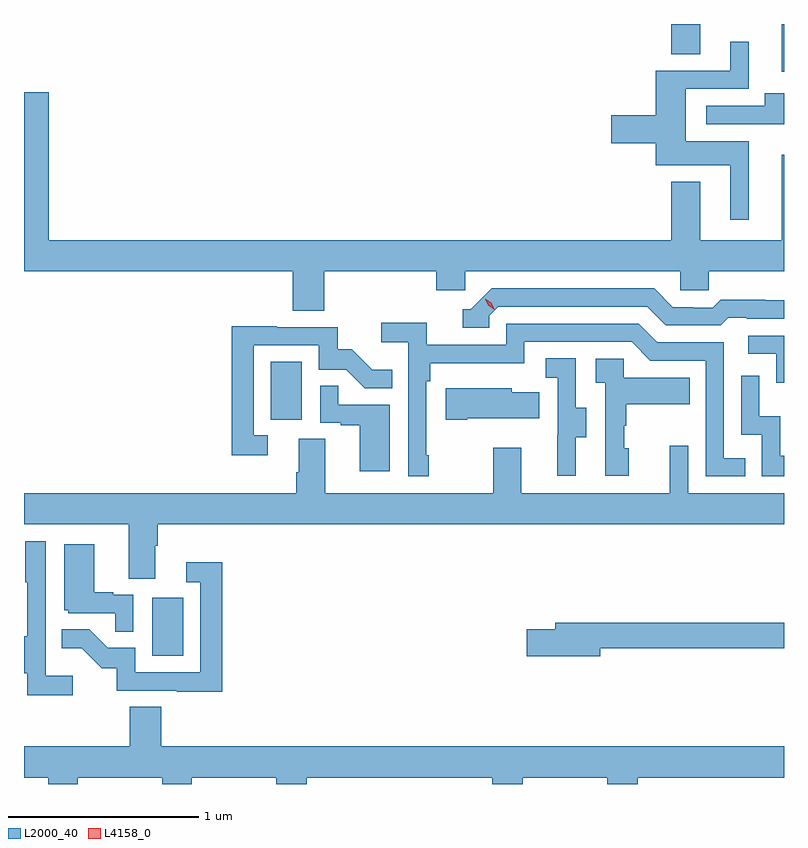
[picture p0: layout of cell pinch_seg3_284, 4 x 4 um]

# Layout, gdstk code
import gdstk
lib = gdstk.Library(unit=1e-6, precision=1e-09)
def R(c, l, rs):  # rectangles x0, y0, x1, y1
    for r in rs: c.add(gdstk.rectangle(r[:2], r[2:], *l))
def P(c, l, *ps):  # polygons
    for p in ps: c.add(gdstk.Polygon(p, *l))
L2000_40 = (2000, 40)
L4158_0 = (4158, 0)

pinch_seg3_284 = lib.new_cell('pinch_seg3_284')
R(pinch_seg3_284, L2000_40, [(926.378,712.212,926.542,712.519), (927.002,713.454,927.166,713.761), (929.693,715.287,929.704,715.538), (929.111,715.378,929.263,715.538)])
P(pinch_seg3_284, L2000_40, [(929.518,714.922),(929.188,714.922),(929.188,715.197),(929.518,715.197),(929.518,715.444),(929.42,715.444),(929.42,715.293),(929.03,715.293),(929.03,715.058),(928.794,715.058),(928.794,714.911),(929.03,714.911),(929.03,714.794),(929.42,714.794),(929.42,714.507),(929.518,714.507)],
  [(927.284,714.236),(927.875,714.236),(927.875,714.138),(928.026,714.138),(928.026,714.236),(929.157,714.236),(929.157,714.138),(929.307,714.138),(929.307,714.236),(929.704,714.236),(929.704,714.85),(929.693,714.85),(929.693,714.4),(929.263,714.4),(929.263,714.709),(929.111,714.709),(929.111,714.4),(925.835,714.4),(925.835,715.18),(925.704,715.18),(925.704,714.236),(927.119,714.236),(927.119,714.028),(927.284,714.028)],
  [(929.704,715.174),(929.603,715.174),(929.603,715.107),(929.295,715.107),(929.295,715.011),(929.704,715.011)],
  [(928.152,714.003),(928.2,714.051),(928.983,714.051),(929.082,713.952),(929.371,713.952),(929.41,713.991),(929.509,713.991),(929.509,713.988),(929.704,713.988),(929.704,714.085),(929.604,714.085),(929.604,714.088),(929.371,714.088),(929.329,714.045),(929.226,714.045),(929.226,714.048),(929.119,714.048),(929.02,714.147),(928.167,714.147),(928.056,714.036),(928.013,714.036),(928.013,713.94),(928.152,713.94)],
  [(927.835,713.269),(927.822,713.269),(927.822,713.657),(927.842,713.657),(927.842,713.753),(928.338,713.753),(928.338,713.865),(928.902,713.865),(929.001,713.766),(929.292,713.766),(929.292,713.157),(929.501,713.157),(929.501,713.253),(929.388,713.253),(929.388,713.862),(929.038,713.862),(928.939,713.961),(928.242,713.961),(928.242,713.85),(927.824,713.85),(927.824,713.966),(927.585,713.966),(927.585,713.864),(927.726,713.864),(927.726,713.157),(927.835,713.157)],
  [(926.986,713.373),(926.913,713.373),(926.913,713.847),(927.255,713.847),(927.255,713.718),(927.399,713.718),(927.497,713.62),(927.641,713.62),(927.641,713.719),(927.537,713.719),(927.43,713.826),(927.354,713.826),(927.354,713.943),(927.035,713.943),(927.035,713.948),(926.797,713.948),(926.797,713.268),(926.986,713.268)],
  [(929.704,713.898),(929.517,713.898),(929.517,713.802),(929.664,713.802),(929.664,713.649),(929.704,713.649)],
  [(928.609,713.362),(928.663,713.362),(928.663,713.517),(928.608,713.517),(928.608,713.78),(928.449,713.78),(928.449,713.677),(928.512,713.677),(928.512,713.373),(928.511,713.373),(928.511,713.16),(928.609,713.16)],
  [(928.888,713.304),(928.863,713.304),(928.863,713.423),(928.873,713.423),(928.873,713.537),(929.207,713.537),(929.207,713.677),(928.86,713.677),(928.86,713.775),(928.713,713.775),(928.713,713.651),(928.764,713.651),(928.764,713.16),(928.888,713.16)],
  [(929.704,713.266),(929.684,713.266),(929.684,713.474),(929.574,713.474),(929.574,713.686),(929.478,713.686),(929.478,713.376),(929.586,713.376),(929.586,713.157),(929.704,713.157)],
  [(927.628,713.535),(927.359,713.535),(927.359,713.633),(927.264,713.633),(927.264,713.439),(927.371,713.439),(927.371,713.427),(927.47,713.427),(927.47,713.184),(927.628,713.184)],
  [(928.036,713.462),(928.415,713.462),(928.415,713.599),(928.272,713.599),(928.272,713.62),(927.924,713.62),(927.924,713.455),(928.036,713.455)],
  [(929.704,713.068),(929.199,713.068),(929.199,713.317),(929.102,713.317),(929.102,713.068),(928.321,713.068),(928.321,713.308),(928.174,713.308),(928.174,713.068),(927.289,713.068),(927.289,713.354),(927.149,713.354),(927.149,713.18),(927.137,713.18),(927.137,713.068),(925.704,713.068),(925.704,712.904),(926.255,712.904),(926.255,712.618),(926.395,712.618),(926.395,712.792),(926.408,712.792),(926.408,712.904),(929.704,712.904)],
  [(925.96,712.108),(925.818,712.108),(925.818,712.816),(925.71,712.816),(925.71,712.6),(925.722,712.6),(925.722,712.315),(925.704,712.315),(925.704,712.122),(925.721,712.122),(925.721,712.006),(925.96,712.006)],
  [(926.28,712.533),(926.174,712.533),(926.174,712.546),(926.074,712.546),(926.074,712.801),(925.916,712.801),(925.916,712.452),(925.938,712.452),(925.938,712.437),(926.185,712.437),(926.185,712.339),(926.28,712.339)],
  [(926.747,712.705),(926.559,712.705),(926.559,712.599),(926.631,712.599),(926.631,712.125),(926.289,712.125),(926.289,712.254),(926.145,712.254),(926.047,712.352),(925.903,712.352),(925.903,712.253),(926.007,712.253),(926.114,712.146),(926.191,712.146),(926.191,712.029),(926.509,712.029),(926.509,712.024),(926.747,712.024)],
  [(928.738,712.252),(929.704,712.252),(929.704,712.388),(928.499,712.388),(928.499,712.352),(928.35,712.352),(928.35,712.21),(928.738,712.21)],
  [(925.986,711.572),(926.431,711.572),(926.431,711.538),(926.586,711.538),(926.586,711.572),(927.031,711.572),(927.031,711.538),(927.191,711.538),(927.191,711.572),(928.169,711.572),(928.169,711.538),(928.329,711.538),(928.329,711.572),(928.774,711.572),(928.774,711.538),(928.934,711.538),(928.934,711.572),(929.704,711.572),(929.704,711.736),(926.426,711.736),(926.426,711.944),(926.261,711.944),(926.261,711.736),(925.704,711.736),(925.704,711.572),(925.831,711.572),(925.831,711.538),(925.986,711.538)])
P(pinch_seg3_284, L4158_0, [(928.177,714.038),(928.147,714.058),(928.131,714.091),(928.131,714.091),(928.131,714.091),(928.162,714.071),(928.178,714.039),(928.178,714.038)])

lib.write_gds('pinch_seg3_284.gds')
